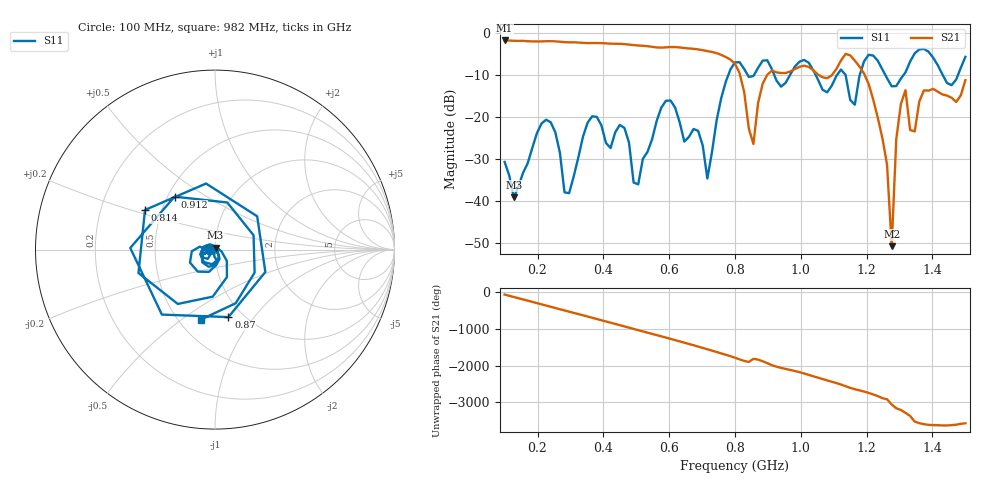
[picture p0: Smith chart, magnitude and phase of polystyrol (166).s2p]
! NanoVNA-App
! Date: 2025-09-25 15:31:11
! Start: 100MHz Stop: 1,5GHz Points: 101
! S-Parameter data: F S11 S21 S12 S22
# Hz S RI R 50
!  Frequency  S11_Real  S11_Imag  S21_Real  S21_Imag  S12_Real  S12_Imag  S22_Real  S22_Imag
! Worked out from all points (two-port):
!   101 points, 100 MHz to 1.5 GHz, reference 50 ohm
!   highest |S21| = -1.80 dB at 100 MHz (marker M1); lowest = -50.7 dB at 1.276 GHz (marker M2)
!   |S21| within 3 dB of the highest: start of sweep to 743.1 MHz
!   lowest |S11| = -39.1 dB at 128 MHz (marker M3), VSWR 1.02, Z = 50.3 + j1.06 ohm
!   |S11| at or under -10 dB: start of sweep to 779.8 MHz; 1.045 GHz to 1.11 GHz (65.2 MHz wide, 6.05 % of centre); 1.136 GHz to 1.179 GHz (43.12 MHz wide, 3.72 % of centre) (the widest 3 of 7)
!   S12 and S22 are empty: the file has one direction only
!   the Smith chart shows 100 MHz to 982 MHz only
!   S11 on the Smith chart (normalised r, x): 100 MHz: 0.94, -0.01; 814 MHz: 0.40, +0.22; 870 MHz: 0.86, -0.75; 912 MHz: 0.54, +0.37; 982 MHz: 0.64, -0.59
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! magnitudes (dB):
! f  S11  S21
! 100 MHz  -30.7  -1.8
! 128 MHz  -39.1  -1.9
! 212 MHz  -21.6  -2.0
! 282 MHz  -37.9  -2.2
! 338 MHz  -24.7  -2.4
! 506 MHz  -36.0  -3.0
! 576 MHz  -17.8  -3.5
! 716 MHz  -34.6  -4.3
! 800 MHz  -7.0  -7.4
! 814 MHz  -7.0  -9.6
! 856 MHz  -10.3  -26.4
! 870 MHz  -8.3  -16.7
! 912 MHz  -8.6  -9.0
! 982 MHz  -8.0  -8.6
! 1.038 GHz  -8.9  -8.9
! 1.164 GHz  -17.1  -6.6
! 1.206 GHz  -5.2  -12.1
! 1.262 GHz  -10.8  -31.4
! 1.276 GHz  -12.7  -50.7
! 1.29 GHz  -12.6  -25.3
! 1.318 GHz  -9.4  -13.6
! 1.5 GHz  -5.7  -11.2
